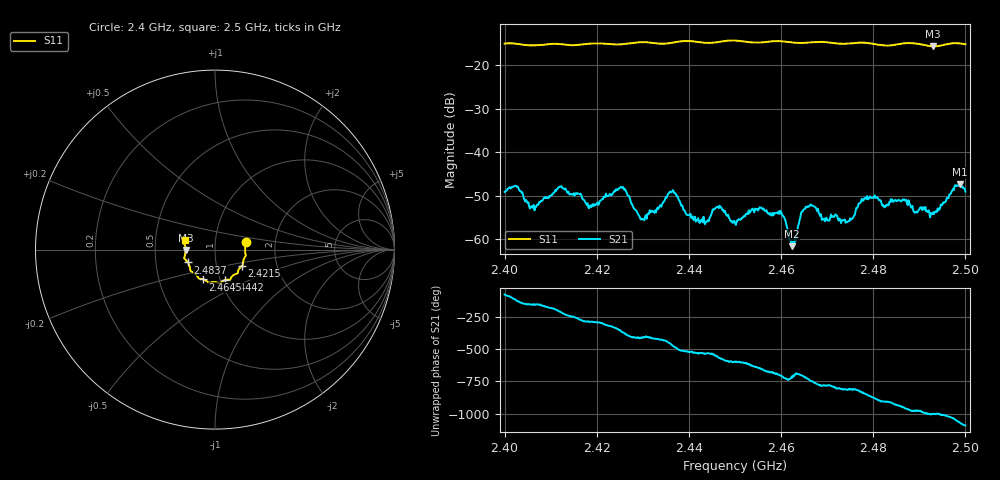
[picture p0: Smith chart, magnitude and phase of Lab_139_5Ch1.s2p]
# Hz S RI R 50
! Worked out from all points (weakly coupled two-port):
!   601 points, 2.4 GHz to 2.5 GHz, reference 50 ohm
!   highest |S21| = -47.40 dB at 2.4988 GHz (marker M1); lowest = -61.6 dB at 2.4623 GHz (marker M2)
!   lowest |S11| = -15.7 dB at 2.493 GHz (marker M3), VSWR 1.39, Z = 36 - j0.201 ohm
!   |S11| at or under -10 dB: start of sweep to end of sweep
!   S12 and S22 are empty: the file has one direction only
!   S11 on the Smith chart (normalised r, x): 2.4 GHz: 1.41, +0.12; 2.4215 GHz: 1.33, -0.25; 2.4442 GHz: 1.05, -0.37; 2.4645 GHz: 0.83, -0.29; 2.4837 GHz: 0.73, -0.11; 2.5 GHz: 0.71, +0.07
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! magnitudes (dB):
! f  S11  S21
! 2.4 GHz  -15.1  -49.1
! 2.406 GHz  -15.5  -52.4
! 2.412 GHz  -15.2  -47.9
! 2.4167 GHz  -15.3  -49.9
! 2.4215 GHz  -15.1  -50.2
! 2.4257 GHz  -15.3  -48.0
! 2.4298 GHz  -14.8  -55.3
! 2.4333 GHz  -15.1  -53.1
! 2.4363 GHz  -14.9  -49.1
! 2.4442 GHz  -15.0  -55.6
! 2.45 GHz  -14.4  -56.2
! 2.4597 GHz  -14.5  -54.2
! 2.4623 GHz  -14.8  -61.6
! 2.4645 GHz  -15.0  -53.7
! 2.4667 GHz  -14.8  -52.3
! 2.4743 GHz  -15.1  -56.1
! 2.4782 GHz  -14.9  -50.7
! 2.4833 GHz  -15.6  -52.2
! 2.4837 GHz  -15.5  -51.5
! 2.493 GHz  -15.7  -53.8
! 2.4988 GHz  -15.1  -47.4
! 2.5 GHz  -15.3  -49.1
